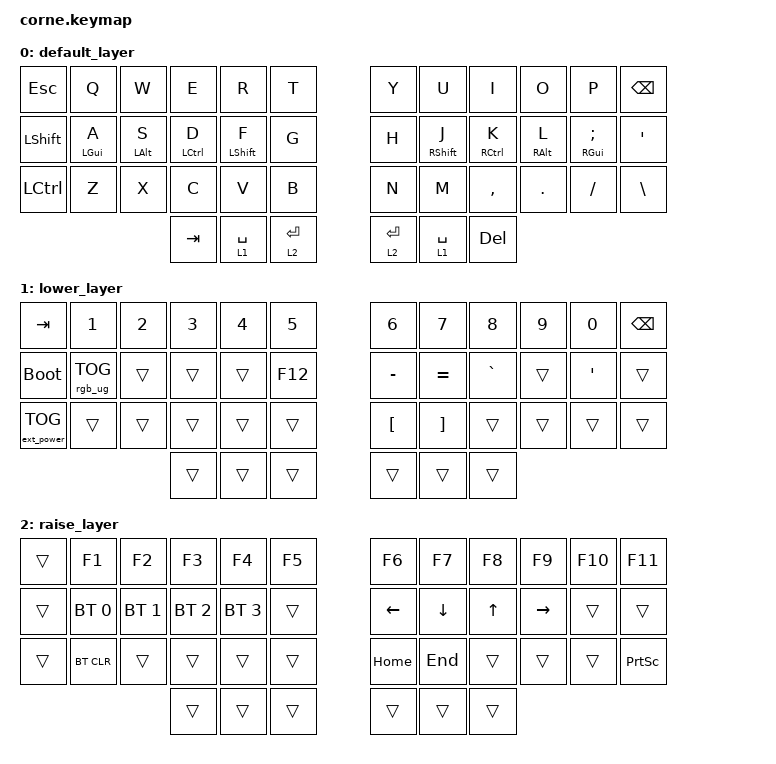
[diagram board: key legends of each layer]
/*
 * Copyright (c) 2020 The ZMK Contributors
 *
 * SPDX-License-Identifier: MIT
 */

#include <behaviors.dtsi>
#include <dt-bindings/zmk/bt.h>
#include <dt-bindings/zmk/keys.h>
#include <dt-bindings/zmk/rgb.h>
#include <dt-bindings/zmk/ext_power.h>
/ {
    behaviors {
        hm: homerow_mods {
            compatible = "zmk,behavior-hold-tap";
            label = "HOMEROW_MODS";
            #binding-cells = <2>;
            tapping-term-ms = <200>;
            quick_tap_ms = <0>;
            flavor = "tap-preferred";
            bindings = <&kp>, <&kp>;

            quick-tap-ms = <180>;
            global-quick-tap;
        };

        ltq: ltq {
            compatible = "zmk,behavior-hold-tap";
            label = "LTQ";
            bindings = <&mo>, <&kp>;

            #binding-cells = <2>;
            tapping-term-ms = <600>;
            global-quick-tap;
            quick-tap-ms = <400>;
        };
    };

    combos {
        compatible = "zmk,combos";

        left_bkt {
            bindings = <&kp LEFT_BRACKET>;
            key-positions = <4 3>;
            timeout-ms = <50>;
        };

        right_bkt {
            bindings = <&kp RBKT>;
            key-positions = <7 8>;
            timeout-ms = <50>;
        };

        left_par {
            bindings = <&kp LEFT_PARENTHESIS>;
            key-positions = <15 16>;
            timeout-ms = <50>;
        };

        right_par {
            bindings = <&kp RIGHT_PARENTHESIS>;
            key-positions = <19 20>;
            timeout-ms = <50>;
        };

        left_brace {
            bindings = <&kp LEFT_BRACE>;
            key-positions = <27 28>;
            timeout-ms = <50>;
        };

        right_brace {
            bindings = <&kp RIGHT_BRACE>;
            key-positions = <32 31>;
            timeout-ms = <50>;
        };

        bac {
            bindings = <&kp BACKSLASH>;
            key-positions = <5 6>;
        };

        pipe {
            bindings = <&kp PIPE>;
            key-positions = <17 18>;
        };
    };

    keymap {
        compatible = "zmk,keymap";

        default_layer {
            bindings = <
&kp ESC    &kp Q           &kp W           &kp E        &kp R             &kp T        &kp Y        &kp U         &kp I        &kp O            &kp P               &kp BSPC
&kp LSHFT  &hm LEFT_GUI A  &hm LEFT_ALT S  &hm LCTRL D  &hm LEFT_SHIFT F  &kp G        &kp H        &hm RSHIFT J  &hm RCTRL K  &hm RIGHT_ALT L  &hm RGUI SEMICOLON  &kp SQT
&kp LCTRL  &kp Z           &kp X           &kp C        &kp V             &kp B        &kp N        &kp M         &kp COMMA    &kp DOT          &kp FSLH            &kp BSLH 
                                           &kp TAB      &lt 1 SPACE       &lt 2 ENTER  &lt 2 ENTER  &lt 1 SPACE   &kp DELETE
            >;
        };

        lower_layer {
            bindings = <
&kp TAB            &kp N1          &kp N2  &kp N3  &kp N4  &kp N5   &kp N6     &kp N7     &kp N8     &kp N9  &kp N0   &kp BSPC
&bootloader        &rgb_ug RGB_TOG &trans  &trans  &trans  &kp F12  &kp MINUS  &kp EQUAL  &kp GRAVE  &trans  &kp SQT  &trans
&ext_power EP_TOG  &trans          &trans  &trans  &trans  &trans   &kp LBKT   &kp RBKT   &trans     &trans  &trans   &trans
                                   &trans  &trans  &trans  &trans   &trans     &trans                
            >;
        };

        raise_layer {
            bindings = <
&trans  &kp F1        &kp F2        &kp F3        &kp F4        &kp F5  &kp F6    &kp F7    &kp F8  &kp F9     &kp F10  &kp F11
&trans  &bt BT_SEL 0  &bt BT_SEL 1  &bt BT_SEL 2  &bt BT_SEL 3  &trans  &kp LEFT  &kp DOWN  &kp UP  &kp RIGHT  &trans   &trans
&trans  &bt BT_CLR    &trans        &trans        &trans        &trans  &kp HOME  &kp END   &trans  &trans     &trans   &kp PRINTSCREEN
                                    &trans        &trans        &trans  &trans    &trans    &trans
            >;
        };
        extra1 {
            status = "reserved";
        };
        extra2 {
            status = "reserved";
        };
        extra3 {
            status = "reserved";
        };
        extra4 {
            status = "reserved";
        };

    };
};


&led_strip {
    chain-length = <27>;
};
